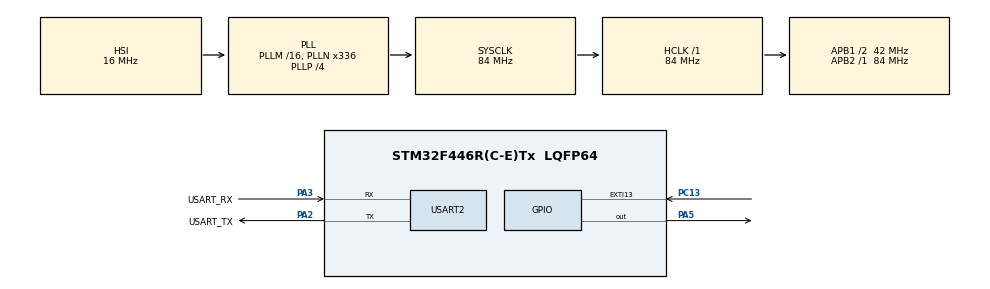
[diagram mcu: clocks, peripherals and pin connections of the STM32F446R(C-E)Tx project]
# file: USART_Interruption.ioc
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Mcu.Family=STM32F4
Mcu.Name=STM32F446R(C-E)Tx
Mcu.Package=LQFP64
NUCLEO-F446RE.BUTTON=1
NUCLEO-F446RE.LD1=true
NVIC.EXTI15_10_IRQn=true\:0\:0\:false\:false\:true\:false\:true\:true
NVIC.PriorityGroup=NVIC_PRIORITYGROUP_0
NVIC.USART2_IRQn=true\:0\:0\:false\:false\:true\:true\:true\:true
PA13.GPIO_Label=TMS
PA13.Signal=SYS_JTMS-SWDIO
PA14.GPIO_Label=TCK
PA14.Signal=SYS_JTCK-SWCLK
PA2.GPIO_Label=USART_TX
PA2.Mode=Asynchronous
PA2.Signal=USART2_TX
PA3.GPIO_Label=USART_RX
PA3.Mode=Asynchronous
PA3.Signal=USART2_RX
PA5.Signal=GPIO_Output
PB3.GPIO_Label=SWO
PB3.Signal=SYS_JTDO-SWO
PC13.Signal=GPXTI13
PC14-OSC32_IN.Signal=RCC_OSC32_IN
PC15-OSC32_OUT.Signal=RCC_OSC32_OUT
PH0-OSC_IN.Signal=RCC_OSC_IN
PH1-OSC_OUT.Signal=RCC_OSC_OUT
ProjectManager.HeapSize=0x200
ProjectManager.StackSize=0x400
ProjectManager.TargetToolchain=STM32CubeIDE
RCC.AHBFreq_Value=84000000
RCC.APB1CLKDivider=RCC_HCLK_DIV2
RCC.APB1Freq_Value=42000000
RCC.APB1TimFreq_Value=84000000
RCC.APB2Freq_Value=84000000
RCC.APB2TimFreq_Value=84000000
RCC.CortexFreq_Value=84000000
RCC.FLatency-AdvancedSettings=FLASH_LATENCY_2
RCC.HCLKFreq_Value=84000000
RCC.HSE_VALUE=8000000
RCC.HSI_VALUE=16000000
RCC.LSE_VALUE=32768
RCC.PLLN=336
RCC.PLLP=RCC_PLLP_DIV4
RCC.SYSCLKFreq_VALUE=84000000
RCC.SYSCLKSource=RCC_SYSCLKSOURCE_PLLCLK
RCC.USBFreq_Value=168000000
RCC.VCOOutputFreq_Value=336000000
USART2.VirtualMode=VM_ASYNC
VP_NUCLEO-F446RE_VS_BSP_COMMON.Mode=COMMON
board=NUCLEO-F446RE

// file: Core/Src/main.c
/* USER CODE BEGIN Header */
/**
  ******************************************************************************
  * @file           : main.c
  * @brief          : Main program body
  ******************************************************************************
  * @attention
  *
  * Copyright (c) 2026 STMicroelectronics.
  * All rights reserved.
  *
  * Objectif : Développer un système embarqué sur STM32
  * qui affiche un menu d'aide au démarrage via la liaison série (UART2).
  * L'utilisateur peut ensuite envoyer des caractères (1, 2 ou 3)
  * depuis son terminal pour piloter une LED (LED2)
  * en mode interruption, sans bloquer la boucle principale du programme (while(1)).
  ******************************************************************************
  */
/* USER CODE END Header */
#include "main.h"

/* USER CODE BEGIN Includes */
#include "stdio.h"
#include "stdint.h"
#include "string.h"
/* USER CODE END Includes */

/* USER CODE BEGIN PD */
uint8_t bouton_led;
char *msg_erreur = "Entrez 1 pour allumer la led\r\n"
                   "2 pour l'eteindre\r\n"
                   "3 pour la faire clignoter\r\n";
volatile uint8_t mode_clignotement = 0;
/* USER CODE END PD */

UART_HandleTypeDef huart2;

void SystemClock_Config(void);
static void MX_GPIO_Init(void);
static void MX_USART2_UART_Init(void);

int main(void)
{

  /* MCU Configuration--------------------------------------------------------*/

  /* Reset of all peripherals, Initializes the Flash interface and the Systick. */
  HAL_Init();

  /* Configure the system clock */
  SystemClock_Config();

  /* Initialize all configured peripherals */
  MX_GPIO_Init();
  MX_USART2_UART_Init();

  /* Initialize leds */
  BSP_LED_Init(LED2);

  /* Initialize USER push-button */
  BSP_PB_Init(BUTTON_USER, BUTTON_MODE_EXTI);

  /* USER CODE BEGIN 2 */
  // Affichage du menu initial
  HAL_UART_Transmit(&huart2, (uint8_t *)msg_erreur, strlen(msg_erreur), HAL_MAX_DELAY);

  //Pour la première interruption de réception UART (1 octet)
  HAL_UART_Receive_IT(&huart2, &bouton_led, 1);
  /* USER CODE END 2 */

  /* Infinite loop */
  /* USER CODE BEGIN WHILE */
  while (1)
  {

    if (mode_clignotement == 1)
    {
      BSP_LED_Toggle(LED2);
      HAL_Delay(500);
    }
    /* USER CODE END WHILE */

  }
}

void SystemClock_Config(void)
{
  RCC_OscInitTypeDef RCC_OscInitStruct = {0};
  RCC_ClkInitTypeDef RCC_ClkInitStruct = {0};

  __HAL_RCC_PWR_CLK_ENABLE();
  __HAL_PWR_VOLTAGESCALING_CONFIG(PWR_REGULATOR_VOLTAGE_SCALE3);

  RCC_OscInitStruct.OscillatorType = RCC_OSCILLATORTYPE_HSI;
  RCC_OscInitStruct.HSIState = RCC_HSI_ON;
  RCC_OscInitStruct.HSICalibrationValue = RCC_HSICALIBRATION_DEFAULT;
  RCC_OscInitStruct.PLL.PLLState = RCC_PLL_ON;
  RCC_OscInitStruct.PLL.PLLSource = RCC_PLLSOURCE_HSI;
  RCC_OscInitStruct.PLL.PLLM = 16;
  RCC_OscInitStruct.PLL.PLLN = 336;
  RCC_OscInitStruct.PLL.PLLP = RCC_PLLP_DIV4;
  RCC_OscInitStruct.PLL.PLLQ = 2;
  RCC_OscInitStruct.PLL.PLLR = 2;
  if (HAL_RCC_OscConfig(&RCC_OscInitStruct) != HAL_OK)
  {
    Error_Handler();
  }

  RCC_ClkInitStruct.ClockType = RCC_CLOCKTYPE_HCLK|RCC_CLOCKTYPE_SYSCLK
                              |RCC_CLOCKTYPE_PCLK1|RCC_CLOCKTYPE_PCLK2;
  RCC_ClkInitStruct.SYSCLKSource = RCC_SYSCLKSOURCE_PLLCLK;
  RCC_ClkInitStruct.AHBCLKDivider = RCC_SYSCLK_DIV1;
  RCC_ClkInitStruct.APB1CLKDivider = RCC_HCLK_DIV2;
  RCC_ClkInitStruct.APB2CLKDivider = RCC_HCLK_DIV1;

  if (HAL_RCC_ClockConfig(&RCC_ClkInitStruct, FLASH_LATENCY_2) != HAL_OK)
  {
    Error_Handler();
  }
}

static void MX_USART2_UART_Init(void)
{
  huart2.Instance = USART2;
  huart2.Init.BaudRate = 115200;
  huart2.Init.WordLength = UART_WORDLENGTH_8B;
  huart2.Init.StopBits = UART_STOPBITS_1;
  huart2.Init.Parity = UART_PARITY_NONE;
  huart2.Init.Mode = UART_MODE_TX_RX;
  huart2.Init.HwFlowCtl = UART_HWCONTROL_NONE;
  huart2.Init.OverSampling = UART_OVERSAMPLING_16;
  if (HAL_UART_Init(&huart2) != HAL_OK)
  {
    Error_Handler();
  }
}

static void MX_GPIO_Init(void)
{
  __HAL_RCC_GPIOC_CLK_ENABLE();
  __HAL_RCC_GPIOH_CLK_ENABLE();
  __HAL_RCC_GPIOA_CLK_ENABLE();
  __HAL_RCC_GPIOB_CLK_ENABLE();
}

/* USER CODE BEGIN 4 */

void HAL_UART_RxCpltCallback(UART_HandleTypeDef *huart)
{
  if (huart->Instance == USART2)
  {
    if (bouton_led == '1')
    {
      mode_clignotement = 0;
      BSP_LED_On(LED2);
    }
    else if (bouton_led == '2')
    {
      mode_clignotement = 0;
      BSP_LED_Off(LED2);
    }
    else if (bouton_led == '3')
    {
      mode_clignotement = 1;
    }

    HAL_UART_Receive_IT(&huart2, &bouton_led, 1);
  }
}
/* USER CODE END 4 */

void Error_Handler(void)
{
  __disable_irq();
  while (1)
  {
  }
}
